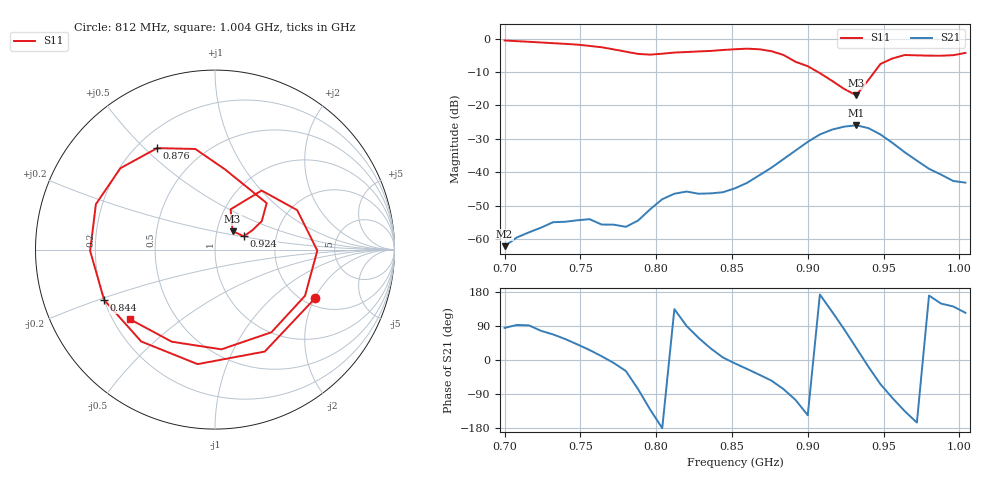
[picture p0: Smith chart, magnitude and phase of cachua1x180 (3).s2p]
# Hz S RI R 50
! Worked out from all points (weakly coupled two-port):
!   39 points, 700 MHz to 1.004 GHz, reference 50 ohm
!   highest |S21| = -25.94 dB at 932 MHz (marker M1); lowest = -62.2 dB at 700 MHz (marker M2)
!   lowest |S11| = -17.0 dB at 932 MHz (marker M3), VSWR 1.33, Z = 59.4 + j12.5 ohm
!   |S11| at or under -10 dB: 906.8 MHz to 943.9 MHz (37.13 MHz wide, 4.01 % of centre)
!   S12 and S22 are empty: the file has one direction only
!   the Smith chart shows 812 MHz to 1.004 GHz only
!   S11 on the Smith chart (normalised r, x): 812 MHz: 2.31, -2.02; 844 MHz: 0.20, -0.21; 876 MHz: 0.28, +0.55; 924 MHz: 1.36, +0.21; 1.004 GHz: 0.27, -0.33
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7e8  0.7618 0.5549  7.19e-05 0.000774  0 0  0 0
7.24e8  0.8424 -0.2512  0.00033 0.00143  0 0  0 0
7.4e8  0.4566 -0.7028  0.00103 0.00148  0 0  0 0
7.56e8  -0.1908 -0.7575  0.00177 0.000881  0 0  0 0
7.72e8  -0.663 -0.1998  0.00162 -0.000221  0 0  0 0
7.8e8  -0.5999 0.2232  0.00132 -0.000736  0 0  0 0
7.88e8  -0.2551 0.535  0.000435 -0.00183  0 0  0 0
7.96e8  0.233 0.5283  -0.0018 -0.0021  0 0  0 0
8.04e8  0.5664 0.1867  -0.00393 -1.06e-05  0 0  0 0
8.12e8  0.5593 -0.2692  -0.00331 0.00341  0 0  0 0
8.28e8  -0.0968 -0.638  0.0025 0.00404  0 0  0 0
8.44e8  -0.6175 -0.2806  0.00496 0.000582  0 0  0 0
8.52e8  -0.6958 -0.00712  0.00566 -0.000899  0 0  0 0
8.76e8  -0.3224 0.5654  0.00679 -0.00946  0 0  0 0
9e8  0.288 0.2589  -0.0235 -0.016  0 0  0 0
9.08e8  0.2607 0.1586  -0.0365 0.00463  0 0  0 0
9.24e8  0.1606 0.0743  0.00738 0.0476  0 0  0 0
9.32e8  0.0979 0.1028  0.0428 0.0267  0 0  0 0
9.56e8  0.458 0.2199  -0.00514 -0.0269  0 0  0 0
9.64e8  0.57 -0.00539  -0.0141 -0.014  0 0  0 0
9.8e8  0.3144 -0.4606  -0.0111 0.00195  0 0  0 0
1.004e9  -0.4752 -0.3872  -0.00395 0.00574  0 0  0 0
